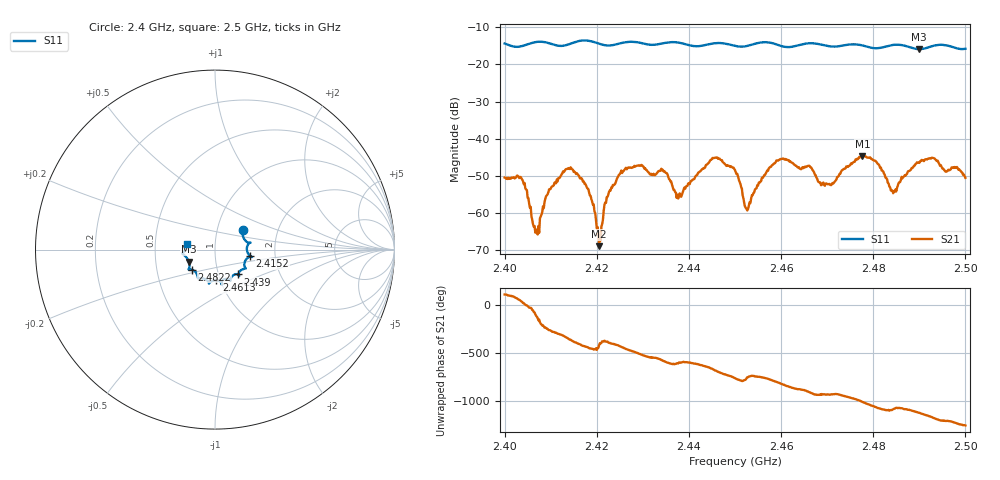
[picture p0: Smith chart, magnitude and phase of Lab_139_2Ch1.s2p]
# Hz S RI R 50
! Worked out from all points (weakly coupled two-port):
!   601 points, 2.4 GHz to 2.5 GHz, reference 50 ohm
!   highest |S21| = -44.70 dB at 2.4777 GHz (marker M1); lowest = -68.9 dB at 2.4205 GHz (marker M2)
!   lowest |S11| = -15.9 dB at 2.4898 GHz (marker M3), VSWR 1.38, Z = 37 - j5.04 ohm
!   |S11| at or under -10 dB: start of sweep to end of sweep
!   S12 and S22 are empty: the file has one direction only
!   S11 on the Smith chart (normalised r, x): 2.4 GHz: 1.33, +0.31; 2.4152 GHz: 1.48, -0.11; 2.439 GHz: 1.24, -0.36; 2.4613 GHz: 0.96, -0.34; 2.4822 GHz: 0.76, -0.17; 2.5 GHz: 0.72, +0.05
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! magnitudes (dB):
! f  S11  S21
! 2.4 GHz  -14.4  -50.4
! 2.4038 GHz  -15.1  -51.0
! 2.407 GHz  -13.9  -64.9
! 2.4098 GHz  -14.4  -53.6
! 2.4152 GHz  -14.1  -48.9
! 2.4167 GHz  -13.6  -50.6
! 2.4205 GHz  -14.4  -68.9
! 2.4222 GHz  -14.9  -55.7
! 2.4252 GHz  -14.3  -49.2
! 2.4333 GHz  -14.6  -48.8
! 2.439 GHz  -14.5  -53.1
! 2.4455 GHz  -14.3  -45.1
! 2.45 GHz  -15.0  -48.4
! 2.4527 GHz  -15.0  -59.3
! 2.4613 GHz  -15.4  -45.7
! 2.4667 GHz  -14.3  -48.0
! 2.4708 GHz  -15.2  -52.5
! 2.4777 GHz  -14.9  -44.7
! 2.4822 GHz  -15.4  -48.8
! 2.4833 GHz  -15.0  -52.0
! 2.4898 GHz  -15.9  -46.4
! 2.5 GHz  -15.8  -50.5
